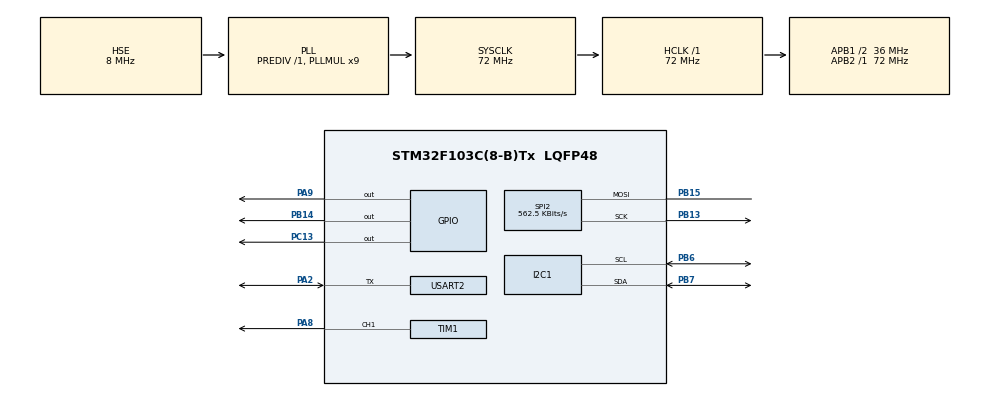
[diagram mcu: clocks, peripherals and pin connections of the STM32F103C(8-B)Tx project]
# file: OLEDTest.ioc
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Dma.Request0=USART2_TX
Dma.Request1=USART2_RX
Dma.USART2_RX.1.Direction=DMA_PERIPH_TO_MEMORY
Dma.USART2_RX.1.Instance=DMA1_Channel6
Dma.USART2_RX.1.MemDataAlignment=DMA_MDATAALIGN_BYTE
Dma.USART2_RX.1.MemInc=DMA_MINC_ENABLE
Dma.USART2_RX.1.Mode=DMA_NORMAL
Dma.USART2_RX.1.PeriphDataAlignment=DMA_PDATAALIGN_BYTE
Dma.USART2_RX.1.PeriphInc=DMA_PINC_DISABLE
Dma.USART2_RX.1.Priority=DMA_PRIORITY_LOW
Dma.USART2_TX.0.Direction=DMA_MEMORY_TO_PERIPH
Dma.USART2_TX.0.Instance=DMA1_Channel7
Dma.USART2_TX.0.MemDataAlignment=DMA_MDATAALIGN_BYTE
Dma.USART2_TX.0.MemInc=DMA_MINC_ENABLE
Dma.USART2_TX.0.Mode=DMA_NORMAL
Dma.USART2_TX.0.PeriphDataAlignment=DMA_PDATAALIGN_BYTE
Dma.USART2_TX.0.PeriphInc=DMA_PINC_DISABLE
Dma.USART2_TX.0.Priority=DMA_PRIORITY_LOW
I2C1.I2C_Mode=I2C_Fast
Mcu.Family=STM32F1
Mcu.Name=STM32F103C(8-B)Tx
Mcu.Package=LQFP48
NVIC.DMA1_Channel6_IRQn=true\:0\:0\:false\:false\:true\:false\:true
NVIC.DMA1_Channel7_IRQn=true\:0\:0\:false\:false\:true\:false\:true
NVIC.PriorityGroup=NVIC_PRIORITYGROUP_4
NVIC.TIM1_UP_IRQn=true\:0\:0\:false\:false\:true\:true\:true
NVIC.TIM4_IRQn=true\:0\:0\:false\:false\:true\:true\:true
PA13.Mode=Serial_Wire
PA13.Signal=SYS_JTMS-SWDIO
PA14.Mode=Serial_Wire
PA14.Signal=SYS_JTCK-SWCLK
PA2.Mode=Half_duplex(single_wire_mode)
PA2.Signal=USART2_TX
PA8.Signal=S_TIM1_CH1
PA9.GPIO_ModeDefaultOutputPP=GPIO_MODE_OUTPUT_PP
PA9.GPIO_PuPd=GPIO_PULLDOWN
PA9.PinState=GPIO_PIN_RESET
PA9.Signal=GPIO_Output
PB13.Mode=Simplex_Bidirectional_Master
PB13.Signal=SPI2_SCK
PB14.GPIO_Speed=GPIO_SPEED_FREQ_HIGH
PB14.Signal=GPIO_Output
PB15.Mode=Simplex_Bidirectional_Master
PB15.Signal=SPI2_MOSI
PB6.Mode=I2C
PB6.Signal=I2C1_SCL
PB7.Mode=I2C
PB7.Signal=I2C1_SDA
PC13-TAMPER-RTC.Signal=GPIO_Output
PD0-OSC_IN.Mode=HSE-External-Oscillator
PD0-OSC_IN.Signal=RCC_OSC_IN
PD1-OSC_OUT.Mode=HSE-External-Oscillator
PD1-OSC_OUT.Signal=RCC_OSC_OUT
ProjectManager.HeapSize=0x200
ProjectManager.StackSize=0x400
ProjectManager.TargetToolchain=STM32CubeIDE
RCC.AHBFreq_Value=72000000
RCC.APB1CLKDivider=RCC_HCLK_DIV2
RCC.APB1Freq_Value=36000000
RCC.APB1TimFreq_Value=72000000
RCC.APB2Freq_Value=72000000
RCC.APB2TimFreq_Value=72000000
RCC.HCLKFreq_Value=72000000
RCC.PLLMUL=RCC_PLL_MUL9
RCC.PLLSourceVirtual=RCC_PLLSOURCE_HSE
RCC.SYSCLKFreq_VALUE=72000000
RCC.SYSCLKSource=RCC_SYSCLKSOURCE_PLLCLK
RCC.USBFreq_Value=72000000
SH.S_TIM1_CH1.0=TIM1_CH1,Output Compare1 CH1
SPI2.BaudRatePrescaler=SPI_BAUDRATEPRESCALER_64
SPI2.CLKPhase=SPI_PHASE_2EDGE
SPI2.CLKPolarity=SPI_POLARITY_HIGH
SPI2.CalculateBaudRate=562.5 KBits/s
SPI2.Direction=SPI_DIRECTION_1LINE
SPI2.FirstBit=SPI_FIRSTBIT_LSB
SPI2.Mode=SPI_MODE_MASTER
SPI2.VirtualType=VM_MASTER
TIM1.Channel-Output\ Compare1\ CH1=TIM_CHANNEL_1
TIM1.OCIdleState_1=TIM_OCIDLESTATE_RESET
TIM1.OCMode_1=TIM_OCMODE_TOGGLE
TIM1.OCPolarity_1=TIM_OCPOLARITY_LOW
TIM1.Period=49999
TIM1.Prescaler=719
TIM1.Pulse-Output\ Compare1\ CH1=25000
TIM1.RepetitionCounter=3
TIM4.Period=9999
TIM4.Prescaler=719
USART2.VirtualMode=VM_ASYNC
VP_TIM1_VS_ClockSourceINT.Mode=Internal
VP_TIM1_VS_OPM.Mode=OPM_bit
VP_TIM4_VS_ClockSourceINT.Mode=Internal
board=custom

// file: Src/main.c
/* USER CODE BEGIN Header */
/**
  ******************************************************************************
  * @file           : main.c
  * @brief          : Main program body
  ******************************************************************************
  * @attention
  *
  * <h2><center>&copy; Copyright (c) 2019 STMicroelectronics.
  * All rights reserved.</center></h2>
  *
  * This software component is licensed by ST under BSD 3-Clause license,
  * the "License"; You may not use this file except in compliance with the
  * License. You may obtain a copy of the License at:
  *                        opensource.org/licenses/BSD-3-Clause
  *
  ******************************************************************************
  */
/* USER CODE END Header */

#include "main.h"

/* USER CODE BEGIN Includes */
//#include "Screen.h"
#include "fonts.h"
#include "ssd1306.h"
#include "BME280.h"
#include "TM1638.h"
#include "test.h"
#include "bitmap.h"
#include "onewire.h"
#include "MainLoop.h"

/* USER CODE END Includes */

I2C_HandleTypeDef hi2c1;

SPI_HandleTypeDef hspi2;

TIM_HandleTypeDef htim1;
TIM_HandleTypeDef htim4;

UART_HandleTypeDef huart2;
DMA_HandleTypeDef hdma_usart2_tx;
DMA_HandleTypeDef hdma_usart2_rx;

/* USER CODE BEGIN PV */
volatile uint32_t timer1=0;

/* USER CODE END PV */

void SystemClock_Config(void);
static void MX_GPIO_Init(void);
static void MX_DMA_Init(void);
static void MX_I2C1_Init(void);
static void MX_TIM1_Init(void);
static void MX_USART2_UART_Init(void);
static void MX_TIM4_Init(void);
static void MX_SPI2_Init(void);
/* USER CODE BEGIN PFP */
void DS18B20_OnComplete(void);
void DS18B20_Error(void);
void MX_USART1_UART_Init(uint32_t baud);
//void get_ROMid (void);
/* USER CODE END PFP */

/* USER CODE BEGIN 0 */
void HAL_TIM_PeriodElapsedCallback(TIM_HandleTypeDef *htim)
{
/*  if (htim->Instance==TIM1) //check if the interrupt comes from TIM1
  {
  HAL_GPIO_TogglePin(GPIOC, GPIO_PIN_13); //Toggle the state of pin
  }
  if (htim->Instance==TIM4) //check if the interrupt comes from TIM1
    {
	  GetDeviceData();
    }*/
}

/* USER CODE END 0 */

int main(void)
{

  /* MCU Configuration--------------------------------------------------------*/

  /* Reset of all peripherals, Initializes the Flash interface and the Systick. */
  HAL_Init();

  /* Configure the system clock */
  SystemClock_Config();

  /* Initialize all configured peripherals */
  MX_GPIO_Init();
  MX_DMA_Init();
  MX_I2C1_Init();
  MX_TIM1_Init();
  MX_USART2_UART_Init();
  MX_TIM4_Init();
  MX_SPI2_Init();
  /* USER CODE BEGIN 2 */
  SSD1306_Init();

  NVIC_SetPriority(TIM4_IRQn, 15);

  BME280_Init();
  ds18b20_init();
 //
  HAL_TIM_Base_Start_IT(&htim1);
  HAL_TIM_Base_Start_IT(&htim4);

  HAL_TIM_OC_Start_IT(&htim1, TIM_CHANNEL_1);
  //HAL_TIM_OC_Start_IT(&htim4, TIM_CHANNEL_1);

  MainLoopInit();

  /* USER CODE END 2 */

  /* Infinite loop */
  /* USER CODE BEGIN WHILE */

  while (1)
  {
	  MainLoopRun();

    /* USER CODE END WHILE */

    /* USER CODE BEGIN 3 */

    /* USER CODE BEGIN 3 */
  }
  /* USER CODE END 3 */
}

void SystemClock_Config(void)
{
  RCC_OscInitTypeDef RCC_OscInitStruct = {0};
  RCC_ClkInitTypeDef RCC_ClkInitStruct = {0};

  /** Initializes the CPU, AHB and APB busses clocks
  */
  RCC_OscInitStruct.OscillatorType = RCC_OSCILLATORTYPE_HSE;
  RCC_OscInitStruct.HSEState = RCC_HSE_ON;
  RCC_OscInitStruct.HSEPredivValue = RCC_HSE_PREDIV_DIV1;
  RCC_OscInitStruct.HSIState = RCC_HSI_ON;
  RCC_OscInitStruct.PLL.PLLState = RCC_PLL_ON;
  RCC_OscInitStruct.PLL.PLLSource = RCC_PLLSOURCE_HSE;
  RCC_OscInitStruct.PLL.PLLMUL = RCC_PLL_MUL9;
  if (HAL_RCC_OscConfig(&RCC_OscInitStruct) != HAL_OK)
  {
    Error_Handler();
  }
  /** Initializes the CPU, AHB and APB busses clocks
  */
  RCC_ClkInitStruct.ClockType = RCC_CLOCKTYPE_HCLK|RCC_CLOCKTYPE_SYSCLK
                              |RCC_CLOCKTYPE_PCLK1|RCC_CLOCKTYPE_PCLK2;
  RCC_ClkInitStruct.SYSCLKSource = RCC_SYSCLKSOURCE_PLLCLK;
  RCC_ClkInitStruct.AHBCLKDivider = RCC_SYSCLK_DIV1;
  RCC_ClkInitStruct.APB1CLKDivider = RCC_HCLK_DIV2;
  RCC_ClkInitStruct.APB2CLKDivider = RCC_HCLK_DIV1;

  if (HAL_RCC_ClockConfig(&RCC_ClkInitStruct, FLASH_LATENCY_2) != HAL_OK)
  {
    Error_Handler();
  }
}

static void MX_I2C1_Init(void)
{

  hi2c1.Instance = I2C1;
  hi2c1.Init.ClockSpeed = 400000;
  hi2c1.Init.DutyCycle = I2C_DUTYCYCLE_2;
  hi2c1.Init.OwnAddress1 = 0;
  hi2c1.Init.AddressingMode = I2C_ADDRESSINGMODE_7BIT;
  hi2c1.Init.DualAddressMode = I2C_DUALADDRESS_DISABLE;
  hi2c1.Init.OwnAddress2 = 0;
  hi2c1.Init.GeneralCallMode = I2C_GENERALCALL_DISABLE;
  hi2c1.Init.NoStretchMode = I2C_NOSTRETCH_DISABLE;
  if (HAL_I2C_Init(&hi2c1) != HAL_OK)
  {
    Error_Handler();
  }

}

static void MX_SPI2_Init(void)
{

  /* SPI2 parameter configuration*/
  hspi2.Instance = SPI2;
  hspi2.Init.Mode = SPI_MODE_MASTER;
  hspi2.Init.Direction = SPI_DIRECTION_1LINE;
  hspi2.Init.DataSize = SPI_DATASIZE_8BIT;
  hspi2.Init.CLKPolarity = SPI_POLARITY_HIGH;
  hspi2.Init.CLKPhase = SPI_PHASE_2EDGE;
  hspi2.Init.NSS = SPI_NSS_SOFT;
  hspi2.Init.BaudRatePrescaler = SPI_BAUDRATEPRESCALER_64;
  hspi2.Init.FirstBit = SPI_FIRSTBIT_LSB;
  hspi2.Init.TIMode = SPI_TIMODE_DISABLE;
  hspi2.Init.CRCCalculation = SPI_CRCCALCULATION_DISABLE;
  hspi2.Init.CRCPolynomial = 10;
  if (HAL_SPI_Init(&hspi2) != HAL_OK)
  {
    Error_Handler();
  }

}

static void MX_TIM1_Init(void)
{

  TIM_ClockConfigTypeDef sClockSourceConfig = {0};
  TIM_MasterConfigTypeDef sMasterConfig = {0};
  TIM_OC_InitTypeDef sConfigOC = {0};
  TIM_BreakDeadTimeConfigTypeDef sBreakDeadTimeConfig = {0};

  htim1.Instance = TIM1;
  htim1.Init.Prescaler = 719;
  htim1.Init.CounterMode = TIM_COUNTERMODE_UP;
  htim1.Init.Period = 49999;
  htim1.Init.ClockDivision = TIM_CLOCKDIVISION_DIV1;
  htim1.Init.RepetitionCounter = 3;
  htim1.Init.AutoReloadPreload = TIM_AUTORELOAD_PRELOAD_DISABLE;
  if (HAL_TIM_Base_Init(&htim1) != HAL_OK)
  {
    Error_Handler();
  }
  sClockSourceConfig.ClockSource = TIM_CLOCKSOURCE_INTERNAL;
  if (HAL_TIM_ConfigClockSource(&htim1, &sClockSourceConfig) != HAL_OK)
  {
    Error_Handler();
  }
  if (HAL_TIM_OC_Init(&htim1) != HAL_OK)
  {
    Error_Handler();
  }
  if (HAL_TIM_OnePulse_Init(&htim1, TIM_OPMODE_SINGLE) != HAL_OK)
  {
    Error_Handler();
  }
  sMasterConfig.MasterOutputTrigger = TIM_TRGO_RESET;
  sMasterConfig.MasterSlaveMode = TIM_MASTERSLAVEMODE_DISABLE;
  if (HAL_TIMEx_MasterConfigSynchronization(&htim1, &sMasterConfig) != HAL_OK)
  {
    Error_Handler();
  }
  sConfigOC.OCMode = TIM_OCMODE_TOGGLE;
  sConfigOC.Pulse = 25000;
  sConfigOC.OCPolarity = TIM_OCPOLARITY_LOW;
  sConfigOC.OCNPolarity = TIM_OCNPOLARITY_HIGH;
  sConfigOC.OCFastMode = TIM_OCFAST_DISABLE;
  sConfigOC.OCIdleState = TIM_OCIDLESTATE_RESET;
  sConfigOC.OCNIdleState = TIM_OCNIDLESTATE_RESET;
  if (HAL_TIM_OC_ConfigChannel(&htim1, &sConfigOC, TIM_CHANNEL_1) != HAL_OK)
  {
    Error_Handler();
  }
  sBreakDeadTimeConfig.OffStateRunMode = TIM_OSSR_DISABLE;
  sBreakDeadTimeConfig.OffStateIDLEMode = TIM_OSSI_DISABLE;
  sBreakDeadTimeConfig.LockLevel = TIM_LOCKLEVEL_OFF;
  sBreakDeadTimeConfig.DeadTime = 0;
  sBreakDeadTimeConfig.BreakState = TIM_BREAK_DISABLE;
  sBreakDeadTimeConfig.BreakPolarity = TIM_BREAKPOLARITY_HIGH;
  sBreakDeadTimeConfig.AutomaticOutput = TIM_AUTOMATICOUTPUT_DISABLE;
  if (HAL_TIMEx_ConfigBreakDeadTime(&htim1, &sBreakDeadTimeConfig) != HAL_OK)
  {
    Error_Handler();
  }
  HAL_TIM_MspPostInit(&htim1);

}

static void MX_TIM4_Init(void)
{

  TIM_ClockConfigTypeDef sClockSourceConfig = {0};
  TIM_MasterConfigTypeDef sMasterConfig = {0};

  htim4.Instance = TIM4;
  htim4.Init.Prescaler = 719;
  htim4.Init.CounterMode = TIM_COUNTERMODE_UP;
  htim4.Init.Period = 9999;
  htim4.Init.ClockDivision = TIM_CLOCKDIVISION_DIV1;
  htim4.Init.AutoReloadPreload = TIM_AUTORELOAD_PRELOAD_DISABLE;
  if (HAL_TIM_Base_Init(&htim4) != HAL_OK)
  {
    Error_Handler();
  }
  sClockSourceConfig.ClockSource = TIM_CLOCKSOURCE_INTERNAL;
  if (HAL_TIM_ConfigClockSource(&htim4, &sClockSourceConfig) != HAL_OK)
  {
    Error_Handler();
  }
  sMasterConfig.MasterOutputTrigger = TIM_TRGO_RESET;
  sMasterConfig.MasterSlaveMode = TIM_MASTERSLAVEMODE_DISABLE;
  if (HAL_TIMEx_MasterConfigSynchronization(&htim4, &sMasterConfig) != HAL_OK)
  {
    Error_Handler();
  }

}

static void MX_USART2_UART_Init(void)
{

  huart2.Instance = USART2;
  huart2.Init.BaudRate = 115200;
  huart2.Init.WordLength = UART_WORDLENGTH_8B;
  huart2.Init.StopBits = UART_STOPBITS_1;
  huart2.Init.Parity = UART_PARITY_NONE;
  huart2.Init.Mode = UART_MODE_TX_RX;
  huart2.Init.HwFlowCtl = UART_HWCONTROL_NONE;
  huart2.Init.OverSampling = UART_OVERSAMPLING_16;
  if (HAL_HalfDuplex_Init(&huart2) != HAL_OK)
  {
    Error_Handler();
  }

}

static void MX_DMA_Init(void)
{

  /* DMA controller clock enable */
  __HAL_RCC_DMA1_CLK_ENABLE();

  /* DMA interrupt init */
  /* DMA1_Channel6_IRQn interrupt configuration */
  HAL_NVIC_SetPriority(DMA1_Channel6_IRQn, 0, 0);
  HAL_NVIC_EnableIRQ(DMA1_Channel6_IRQn);
  /* DMA1_Channel7_IRQn interrupt configuration */
  HAL_NVIC_SetPriority(DMA1_Channel7_IRQn, 0, 0);
  HAL_NVIC_EnableIRQ(DMA1_Channel7_IRQn);

}

static void MX_GPIO_Init(void)
{
  GPIO_InitTypeDef GPIO_InitStruct = {0};

  /* GPIO Ports Clock Enable */
  __HAL_RCC_GPIOC_CLK_ENABLE();
  __HAL_RCC_GPIOD_CLK_ENABLE();
  __HAL_RCC_GPIOA_CLK_ENABLE();
  __HAL_RCC_GPIOB_CLK_ENABLE();

  /*Configure GPIO pin Output Level */
  HAL_GPIO_WritePin(GPIOC, GPIO_PIN_13, GPIO_PIN_RESET);

  /*Configure GPIO pin Output Level */
  HAL_GPIO_WritePin(GPIOB, GPIO_PIN_14, GPIO_PIN_RESET);

  /*Configure GPIO pin Output Level */
  HAL_GPIO_WritePin(GPIOA, GPIO_PIN_9, GPIO_PIN_RESET);

  /*Configure GPIO pin : PC13 */
  GPIO_InitStruct.Pin = GPIO_PIN_13;
  GPIO_InitStruct.Mode = GPIO_MODE_OUTPUT_PP;
  GPIO_InitStruct.Pull = GPIO_NOPULL;
  GPIO_InitStruct.Speed = GPIO_SPEED_FREQ_LOW;
  HAL_GPIO_Init(GPIOC, &GPIO_InitStruct);

  /*Configure GPIO pin : PB14 */
  GPIO_InitStruct.Pin = GPIO_PIN_14;
  GPIO_InitStruct.Mode = GPIO_MODE_OUTPUT_PP;
  GPIO_InitStruct.Pull = GPIO_NOPULL;
  GPIO_InitStruct.Speed = GPIO_SPEED_FREQ_HIGH;
  HAL_GPIO_Init(GPIOB, &GPIO_InitStruct);

  /*Configure GPIO pin : PA9 */
  GPIO_InitStruct.Pin = GPIO_PIN_9;
  GPIO_InitStruct.Mode = GPIO_MODE_OUTPUT_PP;
  GPIO_InitStruct.Pull = GPIO_PULLDOWN;
  GPIO_InitStruct.Speed = GPIO_SPEED_FREQ_LOW;
  HAL_GPIO_Init(GPIOA, &GPIO_InitStruct);

}

/* USER CODE BEGIN 4 */
void DS18B20_OnComplete(void){

};
void DS18B20_Error(void){

};
/* USART1 init function */
void MX_USART1_UART_Init(uint32_t baud)
{

  huart2.Instance = USART2;
  huart2.Init.BaudRate = baud;
  huart2.Init.WordLength = UART_WORDLENGTH_8B;
  huart2.Init.StopBits = UART_STOPBITS_1;
  huart2.Init.Parity = UART_PARITY_NONE;
  huart2.Init.Mode = UART_MODE_TX_RX;
  huart2.Init.HwFlowCtl = UART_HWCONTROL_NONE;
  huart2.Init.OverSampling = UART_OVERSAMPLING_16;
  if (HAL_HalfDuplex_Init(&huart2) != HAL_OK)
  {
    Error_Handler();
  }

}

/* USER CODE END 4 */

void Error_Handler(void)
{
}

/************************ (C) COPYRIGHT STMicroelectronics *****END OF FILE****/
